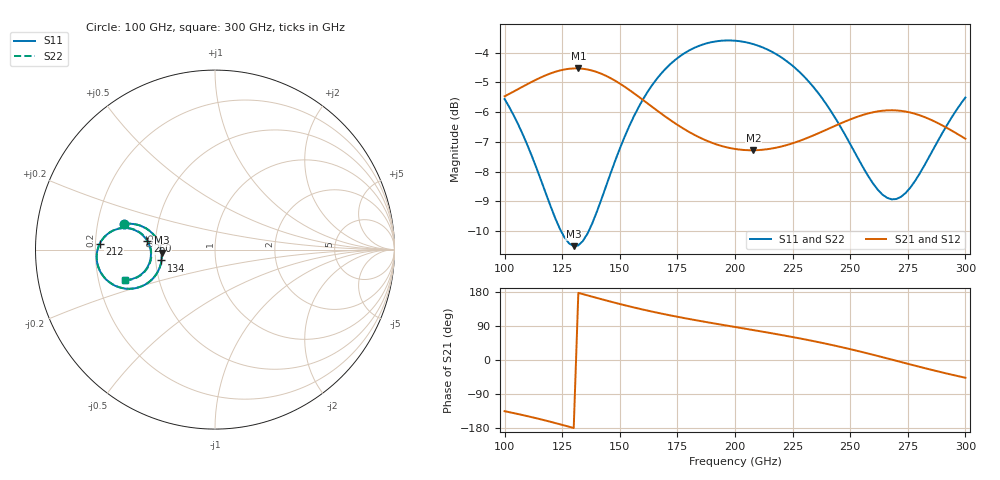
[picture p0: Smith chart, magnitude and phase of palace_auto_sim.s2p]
#  GHZ S DB R 50
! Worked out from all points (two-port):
!   101 points, 100 GHz to 300 GHz, reference 50 ohm
!   highest |S21| = -4.53 dB at 132 GHz (marker M1); lowest = -7.3 dB at 208 GHz (marker M2)
!   |S21| within 3 dB of the highest: start of sweep to end of sweep
!   lowest |S11| = -10.5 dB at 130 GHz (marker M3), VSWR 1.85, Z = 27 - j1.03 ohm
!   |S11| at or under -10 dB: 124.5 GHz to 136.5 GHz (11.96 GHz wide, 9.16 % of centre)
!   |S22| runs from -10.5 to -3.6 dB; largest |S21 - S12| = 6.1e-14
!   S11 on the Smith chart (normalised r, x): 100 GHz: 0.31, +0.12; 134 GHz: 0.54, -0.07; 212 GHz: 0.22, +0.02; 260 GHz: 0.45, +0.05; 300 GHz: 0.31, -0.15
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100  -5.56 164.4  -5.47 -135.1  -5.47 -135.1  -5.57 164.3
114  -7.91 162.9  -4.90 -154.1  -4.90 -154.1  -7.93 162.8
124  -9.92 172.1  -4.60 -169.6  -4.60 -169.6  -9.94 172.0
130  -10.51 -176.7  -4.53 -179.5  -4.53 -179.5  -10.52 -176.7
132  -10.48 -172.5  -4.53 177.2  -4.53 177.2  -10.50 -172.6
134  -10.33 -168.5  -4.55 173.8  -4.55 173.8  -10.35 -168.5
142  -8.93 -157.0  -4.71 160.5  -4.71 160.5  -8.95 -156.9
152  -6.85 -153.4  -5.14 144.7  -5.14 144.7  -6.86 -153.4
160  -5.58 -155.5  -5.59 133.2  -5.59 133.2  -5.59 -155.5
168  -4.70 -159.2  -6.05 122.6  -6.05 122.6  -4.71 -159.2
184  -3.79 -168.0  -6.83 103.9  -6.83 103.9  -3.79 -168.1
200  -3.60 -176.7  -7.24 87.1  -7.24 87.1  -3.61 -176.8
208  -3.72 179.2  -7.28 78.9  -7.28 78.9  -3.73 179.1
212  -3.83 177.2  -7.27 74.7  -7.27 74.7  -3.84 177.1
234  -5.15 167.9  -6.78 49.9  -6.78 49.9  -5.18 167.8
248  -6.79 166.4  -6.31 31.4  -6.31 31.4  -6.83 166.2
260  -8.41 172.8  -6.01 13.7  -6.01 13.7  -8.47 172.7
268  -8.93 -177.9  -5.94 1.1  -5.94 1.1  -9.00 -177.9
274  -8.72 -170.4  -5.98 -8.4  -5.98 -8.4  -8.79 -170.3
282  -7.82 -163.3  -6.16 -20.9  -6.16 -20.9  -7.87 -163.1
290  -6.70 -160.6  -6.45 -32.9  -6.45 -32.9  -6.74 -160.3
300  -5.51 -161.4  -6.90 -46.9  -6.90 -46.9  -5.53 -161.2
